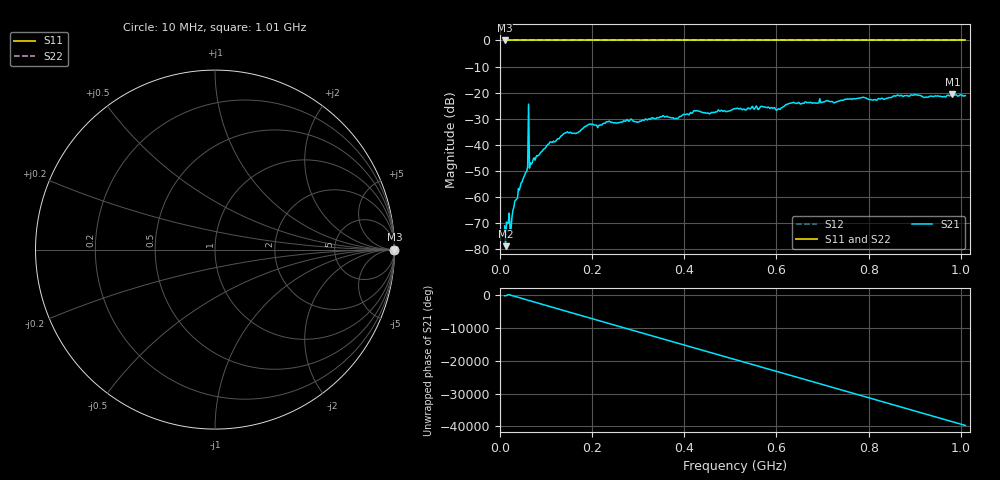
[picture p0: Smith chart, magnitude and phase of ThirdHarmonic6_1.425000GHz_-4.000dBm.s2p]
! 8/16/2025 4:24:02 PM
! C:\ANRITSUVNA\TEMP\TEMP.S2P
! CHANNEL.1
! TR.MEASUREMENT
! RAW.DATA
! RF.CORRECTION.OFF
! AVERAGING.OFF
! IF.BANDWIDTH: 5KHZ
! SWEEPTYPE:  FREQ.SWEEP(Linear)
! Reference Plane Port Info
! PORT:  PORT1  PORT2
! DISTANCE:  0  m  0  m
! TIME:  0  s  0  s
! PHASE.OFFSET:  0  deg.  0  deg.
! LOSS:  0  dB  0  dB
! REF.LOSS:  0  dB  0  dB
! REF.FREQ:  0  Hz  0  Hz
! Power Info
! POWER:  -20  dBm  -20  dBm
! EFF.POWER:  -20  dBm  -20  dBm
! SOURCE.ATTEN:  0  dB  0  dB
! TEST.ATTEN:  0  dB  0  dB
# GHZ S RI R 50.0
! FREQ.GHZ  S11RE  S11IM  S21RE  S21IM  S12RE  S12IM  S22RE  S22IM
!; PortSelection: Port_12
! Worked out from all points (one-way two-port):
!   501 points, 10 MHz to 1.01 GHz, reference 50 ohm
!   highest |S21| = -20.60 dB at 982 MHz (marker M1); lowest = -78.9 dB at 12 MHz (marker M2)
!   lowest |S11| = 0.0 dB at 10 MHz (marker M3)
!   |S11| at or under -10 dB: nowhere
!   |S22| runs from 0.0 to 0.0 dB; largest |S21 - S12| = 1.1
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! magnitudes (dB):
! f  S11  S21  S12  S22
! 10 MHz  0.0  -71.1  0.0  0.0
! 12 MHz  0.0  -78.9  0.0  0.0
! 26 MHz  0.0  -67.7  0.0  0.0
! 36 MHz  0.0  -60.8  0.0  0.0
! 56 MHz  0.0  -50.5  0.0  0.0
! 58 MHz  0.0  -50.3  0.0  0.0
! 64 MHz  0.0  -49.0  0.0  0.0
! 66 MHz  0.0  -46.9  0.0  0.0
! 68 MHz  0.0  -47.5  0.0  0.0
! 106 MHz  0.0  -39.7  0.0  0.0
! 142 MHz  0.0  -35.5  0.0  0.0
! 178 MHz  0.0  -34.0  0.0  0.0
! 196 MHz  0.0  -32.1  0.0  0.0
! 344 MHz  0.0  -29.7  0.0  0.0
! 382 MHz  0.0  -29.9  0.0  0.0
! 510 MHz  0.0  -26.1  0.0  0.0
! 604 MHz  0.0  -26.2  0.0  0.0
! 632 MHz  0.0  -24.0  0.0  0.0
! 678 MHz  0.0  -24.1  0.0  0.0
! 844 MHz  0.0  -21.9  0.0  0.0
! 982 MHz  0.0  -20.6  0.0  0.0
! 1.01 GHz  0.0  -21.2  0.0  0.0
